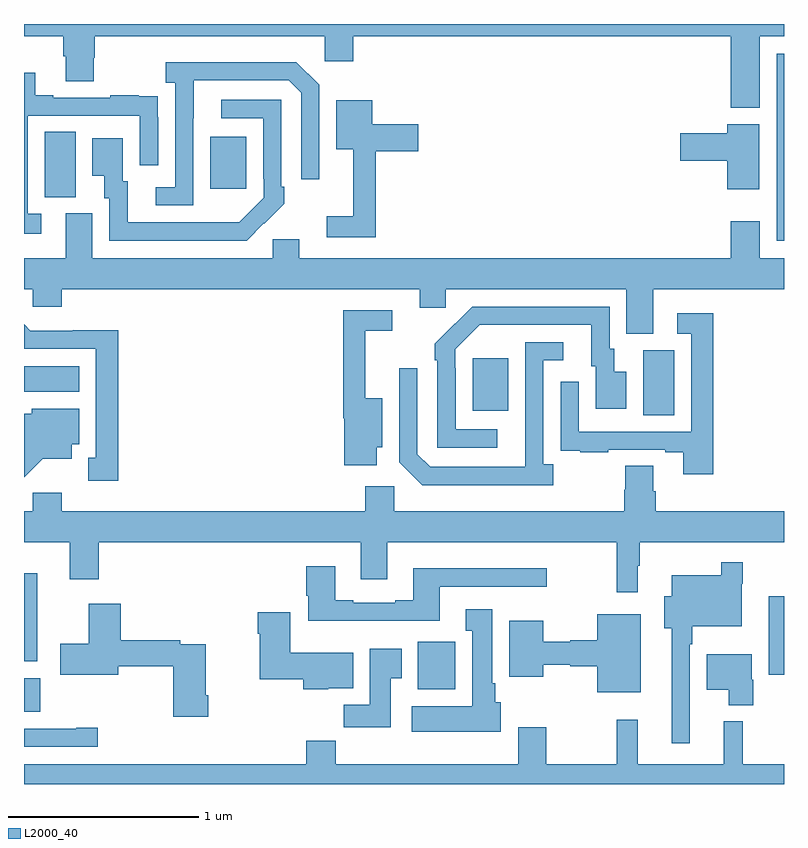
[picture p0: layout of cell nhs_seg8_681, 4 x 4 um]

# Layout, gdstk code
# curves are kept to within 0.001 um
import gdstk
lib = gdstk.Library(unit=1e-6, precision=1e-09)
def R(c, l, rs):  # rectangles x0, y0, x1, y1
    for r in rs: c.add(gdstk.rectangle(r[:2], r[2:], *l))
def P(c, l, *ps):  # polygons
    for p in ps: c.add(gdstk.Polygon(p, *l))
L2000_40 = (2000, 40)

nhs_seg8_681 = lib.new_cell('nhs_seg8_681')
R(nhs_seg8_681, L2000_40, [(155,1110.281,155.086,1110.456), (157.073,1110.398,157.269,1110.649), (158.921,1110.476,159,1110.889), (155,1110.545,155.071,1111.009), (158.258,1111.84,158.422,1112.184), (157.361,1111.865,157.549,1112.14), (155,1111.964,155.29,1112.098), (158.961,1112.76,159,1113.744), (155.108,1112.989,155.272,1113.332), (155.981,1113.033,156.169,1113.307)])
P(nhs_seg8_681, L2000_40, [(158.872,1113.836),(159,1113.836),(159,1113.9),(155,1113.9),(155,1113.836),(155.207,1113.836),(155.207,1113.73),(155.219,1113.73),(155.219,1113.598),(155.367,1113.598),(155.367,1113.723),(155.372,1113.723),(155.372,1113.836),(156.582,1113.836),(156.582,1113.705),(156.734,1113.705),(156.734,1113.836),(158.72,1113.836),(158.72,1113.458),(158.872,1113.458)],
  [(155.892,1113.403),(155.893,1113.603),(156.393,1113.603),(156.459,1113.537),(156.459,1113.084),(156.555,1113.084),(156.555,1113.579),(156.434,1113.7),(155.745,1113.7),(155.745,1113.59),(155.796,1113.59),(155.796,1113.042),(155.694,1113.042),(155.694,1112.946),(155.892,1112.946)],
  [(155.092,1112.901),(155.019,1112.901),(155.019,1113.417),(155.61,1113.417),(155.61,1113.156),(155.706,1113.156),(155.706,1113.41),(155.705,1113.41),(155.705,1113.519),(155.603,1113.519),(155.603,1113.526),(155.455,1113.526),(155.455,1113.513),(155.155,1113.513),(155.155,1113.526),(155.059,1113.526),(155.059,1113.643),(155,1113.643),(155,1112.796),(155.092,1112.796)],
  [(156.263,1112.851),(156.264,1112.85),(156.369,1112.955),(156.369,1113.043),(156.354,1113.043),(156.354,1113.501),(156.039,1113.501),(156.039,1113.405),(156.258,1113.405),(156.258,1113.085),(156.261,1113.085),(156.261,1112.985),(156.133,1112.857),(155.545,1112.856),(155.545,1113.072),(155.521,1113.072),(155.521,1113.298),(155.36,1113.298),(155.36,1113.101),(155.423,1113.101),(155.423,1112.982),(155.448,1112.982),(155.448,1112.76),(156.172,1112.76)],
  [(156.851,1113.23),(157.075,1113.23),(157.075,1113.372),(156.832,1113.372),(156.832,1113.499),(156.644,1113.499),(156.644,1113.242),(156.734,1113.242),(156.734,1112.887),(156.594,1112.887),(156.594,1112.778),(156.851,1112.778)],
  [(158.869,1113.373),(158.702,1113.373),(158.702,1113.326),(158.454,1113.326),(158.454,1113.179),(158.702,1113.179),(158.702,1113.03),(158.869,1113.03)],
  [(158.311,1112.504),(159,1112.504),(159,1112.668),(158.872,1112.668),(158.872,1112.863),(158.72,1112.863),(158.72,1112.668),(156.448,1112.668),(156.448,1112.766),(156.309,1112.766),(156.309,1112.668),(155.359,1112.668),(155.359,1112.904),(155.219,1112.904),(155.219,1112.668),(155,1112.668),(155,1112.504),(155.046,1112.504),(155.046,1112.411),(155.198,1112.411),(155.198,1112.504),(157.082,1112.504),(157.082,1112.406),(157.221,1112.406),(157.221,1112.504),(158.171,1112.504),(158.171,1112.269),(158.311,1112.269)],
  [(157.492,1111.767),(157.272,1111.767),(157.272,1112.087),(157.269,1112.087),(157.269,1112.187),(157.398,1112.316),(157.985,1112.316),(157.985,1112.1),(158.009,1112.1),(158.009,1111.875),(158.17,1111.875),(158.17,1112.071),(158.107,1112.071),(158.107,1112.19),(158.082,1112.19),(158.082,1112.412),(157.358,1112.412),(157.161,1112.217),(157.161,1112.129),(157.176,1112.129),(157.176,1111.671),(157.492,1111.671)],
  [(156.856,1111.673),(156.886,1111.673),(156.886,1111.93),(156.797,1111.93),(156.797,1112.286),(156.937,1112.286),(156.937,1112.394),(156.679,1112.394),(156.679,1111.826),(156.686,1111.826),(156.686,1111.578),(156.856,1111.578)],
  [(158.627,1112.377),(158.439,1112.377),(158.439,1112.271),(158.511,1112.271),(158.511,1111.755),(157.92,1111.755),(157.92,1112.017),(157.824,1112.017),(157.824,1111.762),(157.825,1111.762),(157.825,1111.653),(157.927,1111.653),(157.927,1111.647),(158.075,1111.647),(158.075,1111.659),(158.375,1111.659),(158.375,1111.647),(158.471,1111.647),(158.471,1111.53),(158.627,1111.53)],
  [(155.497,1112.288),(155.256,1112.288),(155.256,1112.286),(155.034,1112.286),(155,1112.32),(155,1112.191),(155.001,1112.19),(155.378,1112.19),(155.378,1111.617),(155.339,1111.617),(155.339,1111.497),(155.497,1111.497)],
  [(157.786,1111.582),(157.734,1111.582),(157.734,1112.13),(157.837,1112.13),(157.837,1112.226),(157.638,1112.226),(157.637,1111.569),(157.137,1111.569),(157.071,1111.635),(157.071,1112.089),(156.975,1112.089),(156.975,1111.593),(157.096,1111.472),(157.786,1111.472)],
  [(155.099,1111.613),(155.251,1111.613),(155.251,1111.689),(155.29,1111.689),(155.29,1111.876),(155.04,1111.876),(155.04,1111.849),(155,1111.849),(155,1111.515)],
  [(158.23,1111.049),(158.242,1111.049),(158.242,1111.172),(159,1111.172),(159,1111.336),(158.324,1111.336),(158.324,1111.442),(158.311,1111.442),(158.311,1111.574),(158.164,1111.574),(158.164,1111.449),(158.159,1111.449),(158.159,1111.336),(156.948,1111.336),(156.948,1111.468),(156.797,1111.468),(156.797,1111.336),(155.198,1111.336),(155.198,1111.432),(155.046,1111.432),(155.046,1111.336),(155,1111.336),(155,1111.172),(155.24,1111.172),(155.24,1110.978),(155.393,1110.978),(155.393,1111.172),(156.773,1111.172),(156.773,1110.978),(156.913,1110.978),(156.913,1111.172),(158.121,1111.172),(158.121,1110.909),(158.23,1110.909)],
  [(158.505,1110.635),(158.518,1110.635),(158.518,1110.731),(158.778,1110.731),(158.778,1110.953),(158.783,1110.953),(158.783,1111.066),(158.67,1111.066),(158.67,1111),(158.408,1111),(158.408,1110.889),(158.369,1110.889),(158.369,1110.719),(158.408,1110.719),(158.408,1110.114),(158.505,1110.114)],
  [(157.189,1110.939),(157.75,1110.939),(157.75,1111.036),(157.049,1111.036),(157.049,1110.868),(156.953,1110.868),(156.953,1110.855),(156.733,1110.855),(156.733,1110.868),(156.637,1110.868),(156.637,1111.045),(156.485,1111.045),(156.485,1110.892),(156.497,1110.892),(156.497,1110.758),(157.189,1110.758)],
  [(155.969,1110.367),(155.956,1110.367),(155.956,1110.636),(155.822,1110.636),(155.822,1110.656),(155.51,1110.656),(155.51,1110.85),(155.342,1110.85),(155.342,1110.639),(155.19,1110.639),(155.19,1110.476),(155.497,1110.476),(155.497,1110.52),(155.786,1110.52),(155.786,1110.255),(155.969,1110.255)],
  [(157.51,1110.33),(157.48,1110.33),(157.48,1110.43),(157.465,1110.43),(157.465,1110.82),(157.325,1110.82),(157.325,1110.707),(157.358,1110.707),(157.358,1110.31),(157.041,1110.31),(157.041,1110.176),(157.51,1110.176)],
  [(156.6,1110.404),(156.733,1110.404),(156.733,1110.592),(156.4,1110.592),(156.4,1110.805),(156.23,1110.805),(156.23,1110.692),(156.242,1110.692),(156.242,1110.452),(156.47,1110.452),(156.47,1110.398),(156.6,1110.398)],
  [(158.245,1110.793),(158.018,1110.793),(158.018,1110.656),(157.875,1110.656),(157.875,1110.649),(157.732,1110.649),(157.732,1110.76),(157.553,1110.76),(157.553,1110.464),(157.732,1110.464),(157.732,1110.528),(157.875,1110.528),(157.875,1110.52),(158.018,1110.52),(158.018,1110.383),(158.245,1110.383)],
  [(156.931,1110.457),(156.988,1110.457),(156.988,1110.613),(156.821,1110.613),(156.821,1110.316),(156.682,1110.316),(156.682,1110.198),(156.931,1110.198)],
  [(158.838,1110.45),(158.83,1110.45),(158.83,1110.583),(158.594,1110.583),(158.594,1110.395),(158.708,1110.395),(158.708,1110.314),(158.838,1110.314)],
  [(159,1110.004),(158.784,1110.004),(158.784,1110.229),(158.684,1110.229),(158.684,1110.004),(158.231,1110.004),(158.231,1110.238),(158.121,1110.238),(158.121,1110.004),(157.749,1110.004),(157.749,1110.199),(157.601,1110.199),(157.601,1110.004),(156.641,1110.004),(156.641,1110.128),(156.485,1110.128),(156.485,1110.004),(155,1110.004),(155,1109.9),(159,1109.9)],
  [(155.389,1110.197),(155.276,1110.197),(155.276,1110.192),(155,1110.192),(155,1110.096),(155.389,1110.096)])

lib.write_gds('nhs_seg8_681.gds')
